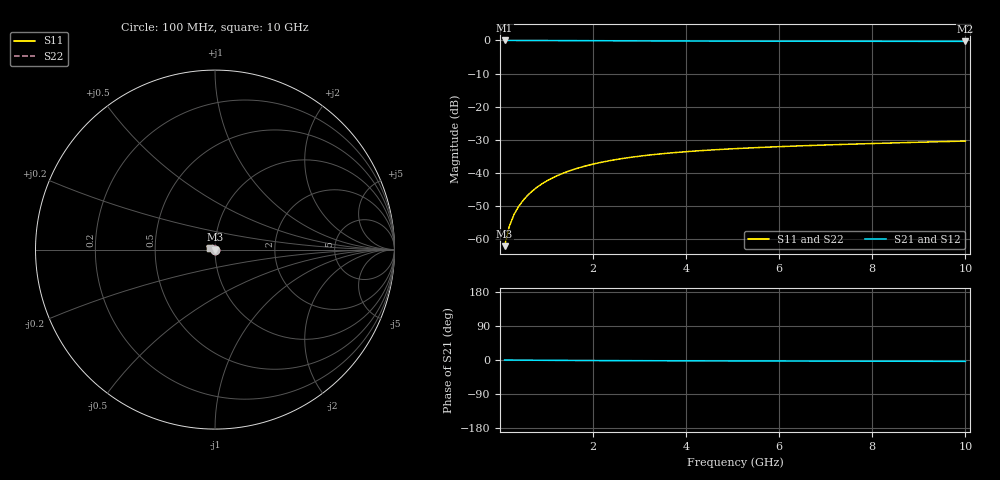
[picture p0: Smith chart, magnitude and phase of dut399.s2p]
! Touchstone file exported from HFSS 2024.1.0
!  File:  C:/UserFiles/LocalFiles/RDL_TSV_Batchsim/temp_TSV1_399_1779624775.aedt
!  Generated:  08:18:14 PM May 24, 2026
!  Design:  TSV1
!  Project:  temp_TSV1_399_1779624775
!  Setup:  Setup1
!  Solution:  Sweep
! Variables:
!  dtsv = 9.89um
!  hbump = 3um
!  htsv = 52.04um
!  lrdl = 252.1521522um
!  p = 40
!  p1 = 53.47um
!  t = 500um
!  trdl = 3um
!  wrdl = 24.89489489um
# GHz S MA R 50.000000
! Terminal data exported
! Port[1] = TSV22_T1
! Port[2] = TSV22_T2
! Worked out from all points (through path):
!   100 points, 100 MHz to 10 GHz, reference 50 ohm
!   highest |S21| = 0.00 dB at 100 MHz (marker M1); lowest = -0.3 dB at 10 GHz (marker M2)
!   lowest |S11| = -62.1 dB at 100 MHz (marker M3), VSWR 1.00, Z = 50 - j0.0777 ohm
!   |S11| at or under -10 dB: start of sweep to end of sweep
!   |S22| runs from -62.1 to -30.4 dB; largest |S21 - S12| = 8.6e-15
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0.1  0.0007818 -83.5  0.9999 -0.1  0.9999 -0.1  0.0007818 -83.5
! Gamma 0 0 0 0
! Port Impedance 50 0 50 0
0.2  0.001556 -89.6  0.9998 -0.2  0.9998 -0.2  0.001556 -89.6
0.3  0.002332 -93.0  0.9996 -0.3  0.9996 -0.3  0.002332 -93.0
0.4  0.003103 -95.8  0.9994 -0.3  0.9994 -0.3  0.003103 -95.8
0.5  0.003867 -98.3  0.9991 -0.4  0.9991 -0.4  0.003867 -98.3
0.6  0.004622 -100.6  0.9988 -0.5  0.9988 -0.5  0.004622 -100.6
0.7  0.005365 -102.8  0.9985 -0.6  0.9985 -0.6  0.005365 -102.8
0.8  0.006096 -105.0  0.9981 -0.7  0.9981 -0.7  0.006096 -105.0
0.9  0.006812 -107.0  0.9977 -0.7  0.9977 -0.7  0.006812 -107.0
1.1  0.0082 -111.1  0.9967 -0.9  0.9967 -0.9  0.0082 -111.1
1.4  0.01015 -116.8  0.995 -1.1  0.995 -1.1  0.01015 -116.8
1.6  0.01136 -120.4  0.9939 -1.2  0.9939 -1.2  0.01136 -120.4
1.8  0.0125 -123.9  0.9926 -1.3  0.9926 -1.3  0.0125 -123.9
2.1  0.01407 -128.8  0.9908 -1.5  0.9908 -1.5  0.01407 -128.8
2.5  0.01591 -134.9  0.9883 -1.7  0.9883 -1.7  0.01591 -134.8
2.9  0.01751 -140.4  0.986 -1.8  0.986 -1.8  0.01751 -140.4
3.4  0.0192 -146.7  0.9834 -2.0  0.9834 -2.0  0.0192 -146.7
4.2  0.02139 -155.4  0.9799 -2.2  0.9799 -2.2  0.02139 -155.4
5.1  0.02331 -163.7  0.9769 -2.5  0.9769 -2.5  0.02331 -163.7
6.7  0.02596 -175.8  0.973 -2.8  0.973 -2.8  0.02596 -175.8
8.4  0.02826 174.0  0.9704 -3.2  0.9704 -3.2  0.02826 174.0
10  0.03025 166.0  0.9688 -3.6  0.9688 -3.6  0.03025 166.0
